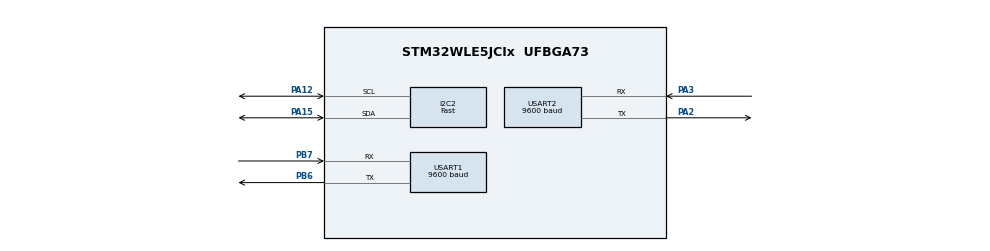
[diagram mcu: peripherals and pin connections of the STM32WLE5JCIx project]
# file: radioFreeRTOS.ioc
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FREERTOS.Queues01=radioQueue,8,uint8_t,0,Static,radioQueueBuffer,radioQueueControlBlock
FREERTOS.Tasks01=radioTask,24,128,StartDefaultTask,Default,NULL,Dynamic,NULL,NULL
I2C2.I2C_Speed_Mode=I2C_Fast
I2C2.Speed=100
I2C2.Timing=0x10400CD9
Mcu.Family=STM32WL
Mcu.Name=STM32WLE5JCIx
Mcu.Package=UFBGA73
NVIC.I2C2_ER_IRQn=true\:5\:0\:false\:false\:true\:true\:true\:true\:true
NVIC.I2C2_EV_IRQn=true\:5\:0\:false\:false\:true\:true\:true\:true\:true
NVIC.PriorityGroup=NVIC_PRIORITYGROUP_4
NVIC.SUBGHZ_Radio_IRQn=true\:5\:0\:false\:false\:true\:true\:true\:true\:true
NVIC.TIM16_IRQn=true\:15\:0\:false\:false\:true\:false\:false\:true\:true
NVIC.TimeBase=TIM16_IRQn
NVIC.TimeBaseIP=TIM16
NVIC.USART1_IRQn=true\:5\:0\:false\:false\:true\:true\:true\:true\:true
NVIC.USART2_IRQn=true\:5\:0\:false\:false\:true\:true\:true\:true\:true
PA12.Mode=I2C
PA12.Signal=I2C2_SCL
PA15.Mode=I2C
PA15.Signal=I2C2_SDA
PA2.Mode=Asynchronous
PA2.Signal=USART2_TX
PA3.Mode=Asynchronous
PA3.Signal=USART2_RX
PB6.Mode=Asynchronous
PB6.Signal=USART1_TX
PB7.Mode=Asynchronous
PB7.Signal=USART1_RX
ProjectManager.HeapSize=0x200
ProjectManager.StackSize=0x400
ProjectManager.TargetToolchain=STM32CubeIDE
RCC.AHBFreq_Value=48000000
RCC.APB1Freq_Value=48000000
RCC.APB1TimFreq_Value=48000000
RCC.APB2Freq_Value=48000000
RCC.APB2TimFreq_Value=48000000
RCC.APB3Freq_Value=48000000
RCC.CortexFreq_Value=48000000
RCC.HCLKFreq_Value=48000000
RCC.HSE_VALUE=8000000
RCC.HSI_VALUE=16000000
RCC.LSE_VALUE=32768
RCC.MSIClockRange=RCC_MSIRANGE_11
RCC.SYSCLKFreq_VALUE=48000000
RCC.VCOOutputFreq_Value=384000000
SUBGHZ.BaudratePrescaler=SUBGHZSPI_BAUDRATEPRESCALER_4
USART1.BaudRate=9600
USART1.VirtualMode-Asynchronous=VM_ASYNC
USART2.BaudRate=9600
USART2.VirtualMode-Asynchronous=VM_ASYNC
VP_FREERTOS_VS_CMSIS_V2.Mode=CMSIS_V2
VP_SUBGHZ_VS_SUBGHZ.Mode=SUBGHZ_Activate
VP_SYS_VS_tim16.Mode=TIM16
board=custom

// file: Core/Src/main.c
/* USER CODE BEGIN Header */
/**
  ******************************************************************************
  * @file           : main.c
  * @brief          : Main program body
  ******************************************************************************
  * @attention
  *
  * Copyright (c) 2026 STMicroelectronics.
  * All rights reserved.
  *
  * This software is licensed under terms that can be found in the LICENSE file
  * in the root directory of this software component.
  * If no LICENSE file comes with this software, it is provided AS-IS.
  *
  ******************************************************************************
  */
/* USER CODE END Header */
#include "main.h"
#include "cmsis_os2.h"
#include "FreeRTOS.h"
#include "i2c.h"
#include "subghz.h"
#include "usart.h"
#include "gpio.h"
#include "app_radio.h"
#include "app_GPS.h"
#include "BME680.h"

void SystemClock_Config(void);
void MX_FREERTOS_Init(void);

int main(void)
{

  /* MCU Configuration--------------------------------------------------------*/

  /* Reset of all peripherals, Initializes the Flash interface and the Systick. */
  HAL_Init();

  /* Configure the system clock */
  SystemClock_Config();

  /* Initialize all configured peripherals */
  MX_GPIO_Init();
  MX_SUBGHZ_Init();
  MX_USART2_UART_Init();
  MX_I2C2_Init();
  MX_USART1_UART_Init();
  /* USER CODE BEGIN 2 */
  radioInit();
  Ringbuf_init();
  if (gps_init()!=GPS_OK){
	  Error_Handler();
  }
  /* USER CODE END 2 */

  /* Init scheduler */
  osKernelInitialize();  /* Call init function for freertos objects (in cmsis_os2.c) */
  MX_FREERTOS_Init();

  /* Start scheduler */
  osKernelStart();

  /* We should never get here as control is now taken by the scheduler */

  /* Infinite loop */
  while (1)
  {

  }
}

void SystemClock_Config(void)
{
  RCC_OscInitTypeDef RCC_OscInitStruct = {0};
  RCC_ClkInitTypeDef RCC_ClkInitStruct = {0};

  /** Configure the main internal regulator output voltage
  */
  __HAL_PWR_VOLTAGESCALING_CONFIG(PWR_REGULATOR_VOLTAGE_SCALE1);

  /** Initializes the CPU, AHB and APB buses clocks
  */
  RCC_OscInitStruct.OscillatorType = RCC_OSCILLATORTYPE_MSI;
  RCC_OscInitStruct.MSIState = RCC_MSI_ON;
  RCC_OscInitStruct.MSICalibrationValue = RCC_MSICALIBRATION_DEFAULT;
  RCC_OscInitStruct.MSIClockRange = RCC_MSIRANGE_11;
  RCC_OscInitStruct.PLL.PLLState = RCC_PLL_NONE;
  if (HAL_RCC_OscConfig(&RCC_OscInitStruct) != HAL_OK)
  {
    Error_Handler();
  }

  /** Configure the SYSCLKSource, HCLK, PCLK1 and PCLK2 clocks dividers
  */
  RCC_ClkInitStruct.ClockType = RCC_CLOCKTYPE_HCLK3|RCC_CLOCKTYPE_HCLK
                              |RCC_CLOCKTYPE_SYSCLK|RCC_CLOCKTYPE_PCLK1
                              |RCC_CLOCKTYPE_PCLK2;
  RCC_ClkInitStruct.SYSCLKSource = RCC_SYSCLKSOURCE_MSI;
  RCC_ClkInitStruct.AHBCLKDivider = RCC_SYSCLK_DIV1;
  RCC_ClkInitStruct.APB1CLKDivider = RCC_HCLK_DIV1;
  RCC_ClkInitStruct.APB2CLKDivider = RCC_HCLK_DIV1;
  RCC_ClkInitStruct.AHBCLK3Divider = RCC_SYSCLK_DIV1;

  if (HAL_RCC_ClockConfig(&RCC_ClkInitStruct, FLASH_LATENCY_2) != HAL_OK)
  {
    Error_Handler();
  }
}

void HAL_TIM_PeriodElapsedCallback(TIM_HandleTypeDef *htim)
{
  if (htim->Instance == TIM16)
  {
    HAL_IncTick();
  }
}

void Error_Handler(void)
{
  __disable_irq();
  while (1)
  {
  }
}

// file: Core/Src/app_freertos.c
/* USER CODE BEGIN Header */
/**
  ******************************************************************************
  * File Name          : app_freertos.c
  * Description        : Code for freertos applications
  ******************************************************************************
  * @attention
  *
  * Copyright (c) 2026 STMicroelectronics.
  * All rights reserved.
  *
  * This software is licensed under terms that can be found in the LICENSE file
  * in the root directory of this software component.
  * If no LICENSE file comes with this software, it is provided AS-IS.
  *
  ******************************************************************************
  */
/* USER CODE END Header */

/* USER CODE BEGIN Includes */
#include "FreeRTOS.h"
#include "FreeRTOSConfig.h"
#include "task.h"
#include "main.h"
#include "cmsis_os2.h"
#include "app_radio.h"
#include "app_GPS.h"
#include "usart.h"
#include "radio_driver.h"
#include "queue.h"
#include <stdio.h>
#include "BME680.h"
#include "app_cfg.h"
#include "message.h"
#include "app_radio.h"
#include "app_aggregator.h"
#include "app_scheduler.h"
#include "app_SW.h"
/* USER CODE END Includes */

typedef StaticQueue_t osStaticMessageQDef_t;

/* USER CODE BEGIN PD */
//Private Function Declarations
void temp_to_char(int16_t temperature, char *tempBuffer, uint8_t bufferSize);
void hum_to_char(uint32_t humidity, char *humidityBuffer, uint8_t bufferSize);

/* USER CODE END PD */

/* USER CODE BEGIN Variables */
//Radio Task variables

osThreadId_t radioTaskHandle;
const osThreadAttr_t radioTask_attributes = {
  .name = "radioTask",
  .priority = (osPriority_t) osPriorityNormal,
  .stack_size = 256 * 4
};

//GPS Task variables
osMessageQueueId_t gpsQueueHandle;
const osMessageQueueAttr_t gpsQueue_attributes = {
		.name = "GPSQueue"
};
osThreadId_t gpsTaskHandle;
const osThreadAttr_t gpsTask_attributes = {
		.name = "GPSTask",
		.priority = (osPriority_t) osPriorityNormal,
		.stack_size = 512 * 4
};
/* USER CODE END Variables */

void StartDefaultTask(void *argument);

void MX_FREERTOS_Init(void); /* (MISRA C 2004 rule 8.1) */

void MX_FREERTOS_Init(void) {

  /* Create the queue(s) */

  /* USER CODE BEGIN RTOS_QUEUES */
  /* add queues, ... */
	radioQueueHandle = xQueueCreate(8, sizeof(radio_event_t));
	gpsQueueHandle = osMessageQueueNew (4, sizeof(GPS_PVT), &gpsQueue_attributes);
	xMessageQueue = xQueueCreate(3, sizeof(Msg_t)); //Initializing sensor queue
	xRadioQueue = xQueueCreate(3, 22);
    //xMsgQueue = xQueueCreate(2, 64); //Initializing msg queue with a length of 2 and width of 64 for payload
  /* USER CODE END RTOS_QUEUES */

  /* Create the thread(s) */
  /* creation of radioTask */
  xTaskCreate( vSensorTask, //Pointer to function which implements the task
			   "Sensor Task",
				SENSOR_TASK_STACK,
				NULL,
				SENSOR_TASK_PRIO,
				&SensorTaskHandle);
  xTaskCreate( vAggTask,
		  	   "Aggregator Task",
			   AGG_TASK_STACK,
			   NULL,
			   AGG_TASK_PRIO,
			   NULL);
  xTaskCreate( GpsTask,
		  	   "GPS Task",
			   GPS_TASK_STACK,
			   NULL,
			   GPS_TASK_PRIO,
			   &GPSTaskHandle);
  xTaskCreate( vControllerTask,
  		  	   "Controller Task",
			   CONTROLLER_TASK_STACK,
  			   NULL,
  			   CONTROLLER_TASK_PRIO,
  			   &ControllerTaskHandle);
  xTaskCreate( vSWTask,
    		   "Switch Task",
  			   SW_TASK_STACK,
			   NULL,
			   SW_TASK_PRIO,
			   NULL);
  xTaskCreate( RadioTask,
     		   "Radio Task",
   			   RADIO_TASK_STACK,
 			   NULL,
 			   RADIO_TASK_PRIO,
 			   NULL);

}
